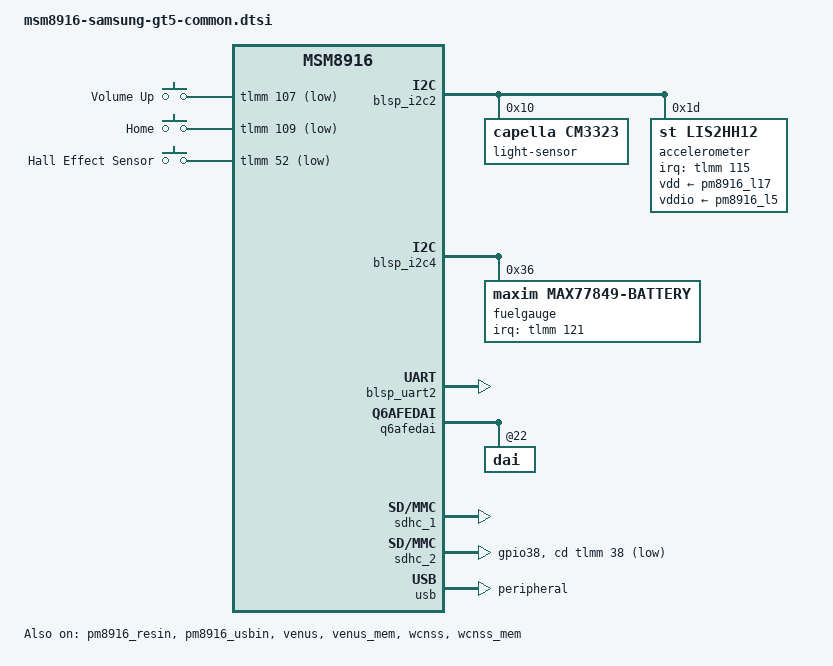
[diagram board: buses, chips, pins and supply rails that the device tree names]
// SPDX-License-Identifier: GPL-2.0-only

/dts-v1/;

#include "msm8916-pm8916.dtsi"
#include "msm8916-modem-qdsp6.dtsi"

#include <dt-bindings/gpio/gpio.h>
#include <dt-bindings/input/input.h>
#include <dt-bindings/interrupt-controller/irq.h>
#include <dt-bindings/sound/apq8016-lpass.h>

/ {
	aliases {
		mmc0 = &sdhc_1; /* eMMC */
		mmc1 = &sdhc_2; /* SD card */
		serial0 = &blsp_uart2;
	};

	chosen {
		stdout-path = "serial0";
	};

	reserved-memory {
		/* Additional memory used by Samsung firmware modifications */
		tz-apps@85500000 {
			reg = <0x0 0x85500000 0x0 0xb00000>;
			no-map;
		};
	};

	gpio-keys {
		compatible = "gpio-keys";

		pinctrl-0 = <&gpio_keys_default>;
		pinctrl-names = "default";

		label = "GPIO Buttons";

		volume-up-button {
			label = "Volume Up";
			gpios = <&tlmm 107 GPIO_ACTIVE_LOW>;
			linux,code = <KEY_VOLUMEUP>;
		};

		home-button {
			label = "Home";
			gpios = <&tlmm 109 GPIO_ACTIVE_LOW>;
			linux,code = <KEY_HOMEPAGE>;
		};
	};

	gpio-hall-sensor {
		compatible = "gpio-keys";

		pinctrl-0 = <&gpio_hall_sensor_default>;
		pinctrl-names = "default";

		label = "GPIO Hall Effect Sensor";

		hall-sensor-switch {
			label = "Hall Effect Sensor";
			gpios = <&tlmm 52 GPIO_ACTIVE_LOW>;
			linux,input-type = <EV_SW>;
			linux,code = <SW_LID>;
			linux,can-disable;
		};
	};
};

&blsp_i2c2 {
	status = "okay";

	light-sensor@10 {
		compatible = "capella,cm3323";
		reg = <0x10>;
	};

	accelerometer@1d {
		compatible = "st,lis2hh12";
		reg = <0x1d>;

		vdd-supply = <&pm8916_l17>;
		vddio-supply = <&pm8916_l5>;

		interrupt-parent = <&tlmm>;
		interrupts = <115 IRQ_TYPE_LEVEL_HIGH>;

		st,drdy-int-pin = <1>;
		mount-matrix = "0", "1", "0",
			      "-1", "0", "0",
			       "0", "0", "1";

		pinctrl-0 = <&accel_int_default>;
		pinctrl-names = "default";
	};
};

&blsp_i2c4 {
	status = "okay";

	fuelgauge@36 {
		compatible = "maxim,max77849-battery";
		reg = <0x36>;

		maxim,rsns-microohm = <10000>;
		maxim,over-heat-temp = <600>;
		maxim,over-volt = <4400>;

		interrupt-parent = <&tlmm>;
		interrupts = <121 IRQ_TYPE_EDGE_FALLING>;

		pinctrl-0 = <&fuelgauge_int_default>;
		pinctrl-names = "default";
	};
};

&blsp_uart2 {
	status = "okay";
};

/*
 * For some reason the speaker amplifier is connected to the second SD line
 * (MI2S_2_D1) instead of the first (MI2S_2_D0). This must be configured in the
 * device tree, otherwise audio will seemingly play fine on the wrong SD line
 * but the speaker stays silent.
 *
 * When routing audio via QDSP6 (the default) the &lpass node is reserved and
 * the definitions from &q6afedai are used. When the modem is disabled audio can
 * be alternatively routed directly to the LPASS hardware with reduced latency.
 * The definitions for &lpass are here for completeness to simplify changing the
 * setup with minor changes to the DT (either manually or with DT overlays).
 */
&lpass {
	dai-link@3 {
		reg = <MI2S_QUATERNARY>;
		qcom,playback-sd-lines = <1>;
	};
};

&mpss_mem {
	reg = <0x0 0x86800000 0x0 0x5400000>;
};

&pm8916_resin {
	linux,code = <KEY_VOLUMEDOWN>;
	status = "okay";
};

&pm8916_rpm_regulators {
	pm8916_l17: l17 {
		regulator-min-microvolt = <2850000>;
		regulator-max-microvolt = <2850000>;
	};
};

/* FIXME: Replace with MAX77849 MUIC when driver is available */
&pm8916_usbin {
	status = "okay";
};

&q6afedai {
	dai@22 {
		reg = <QUATERNARY_MI2S_RX>;
		qcom,sd-lines = <1>;
	};
};

&sdhc_1 {
	status = "okay";
};

&sdhc_2 {
	pinctrl-0 = <&sdc2_default &sdc2_cd_default>;
	pinctrl-1 = <&sdc2_sleep &sdc2_cd_default>;
	pinctrl-names = "default", "sleep";

	cd-gpios = <&tlmm 38 GPIO_ACTIVE_LOW>;

	status = "okay";
};

&sound {
	audio-routing =
		"AMIC1", "MIC BIAS External1",
		"AMIC2", "MIC BIAS Internal2",
		"AMIC3", "MIC BIAS External1";

	sound_link_backend2: backend2-dai-link {
		link-name = "Quaternary MI2S";

		cpu {
			sound-dai = <&q6afedai QUATERNARY_MI2S_RX>;
		};
		platform {
			sound-dai = <&q6routing>;
		};
		codec {
			sound-dai = <&speaker_codec>;
		};
	};
};

&usb {
	dr_mode = "peripheral";
	extcon = <&pm8916_usbin>;

	status = "okay";
};

&usb_hs_phy {
	extcon = <&pm8916_usbin>;
};

&venus {
	status = "okay";
};

&venus_mem {
	status = "okay";
};

&wcnss {
	status = "okay";
};

&wcnss_iris {
	compatible = "qcom,wcn3660b";
};

&wcnss_mem {
	status = "okay";
};

&tlmm {
	accel_int_default: accel-int-default-state {
		pins = "gpio115";
		function = "gpio";
		drive-strength = <2>;
		bias-disable;
	};

	fuelgauge_int_default: fuelgauge-int-default-state {
		pins = "gpio121";
		function = "gpio";
		drive-strength = <2>;
		bias-disable;
	};

	gpio_keys_default: gpio-keys-default-state {
		pins = "gpio107", "gpio109";
		function = "gpio";
		drive-strength = <2>;
		bias-pull-up;
	};

	gpio_hall_sensor_default: gpio-hall-sensor-default-state {
		pins = "gpio52";
		function = "gpio";
		drive-strength = <2>;
		bias-disable;
	};

	sdc2_cd_default: sdc2-cd-default-state {
		pins = "gpio38";
		function = "gpio";
		drive-strength = <2>;
		bias-disable;
	};
};
